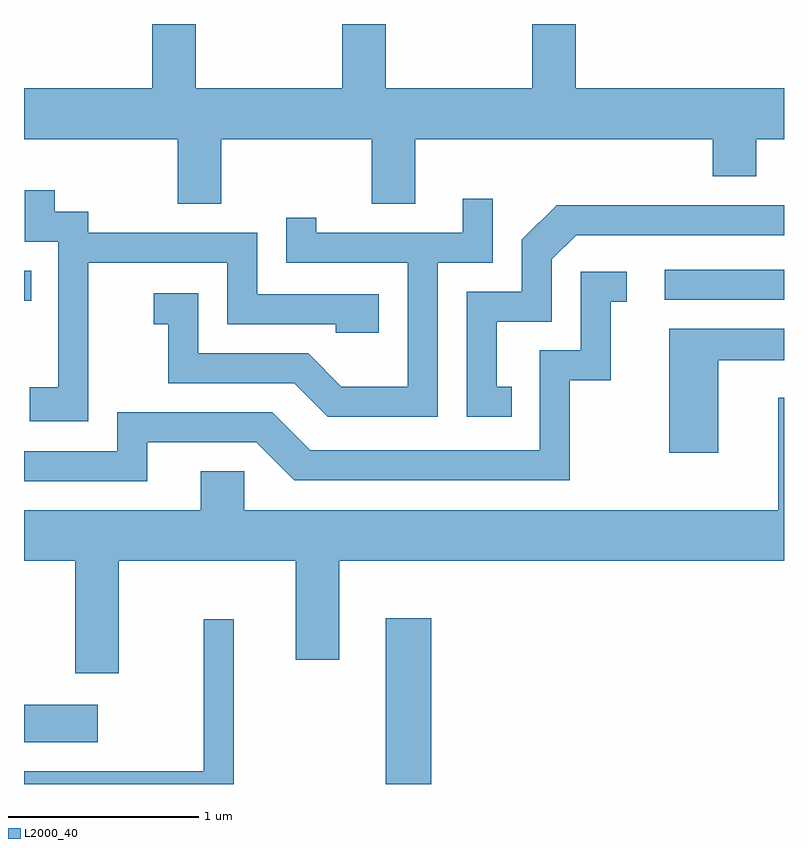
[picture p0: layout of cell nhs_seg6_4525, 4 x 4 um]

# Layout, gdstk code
import gdstk
lib = gdstk.Library(unit=1e-6, precision=1e-09)
def R(c, l, rs):  # rectangles x0, y0, x1, y1
    for r in rs: c.add(gdstk.rectangle(r[:2], r[2:], *l))
def P(c, l, *ps):  # polygons
    for p in ps: c.add(gdstk.Polygon(p, *l))
L2000_40 = (2000, 40)

nhs_seg6_4525 = lib.new_cell('nhs_seg6_4525')
R(nhs_seg6_4525, L2000_40, [(325.516,1582.162,325.754,1583.034), (323.611,1582.381,323.999,1582.579), (323.611,1584.706,323.648,1584.864), (326.983,1584.711,327.611,1584.869)])
P(nhs_seg6_4525, L2000_40, [(324.649,1585.556),(325.441,1585.556),(325.441,1585.216),(325.669,1585.216),(325.669,1585.556),(327.236,1585.556),(327.236,1585.361),(327.464,1585.361),(327.464,1585.556),(327.611,1585.556),(327.611,1585.824),(326.514,1585.824),(326.514,1586.162),(326.286,1586.162),(326.286,1585.824),(325.514,1585.824),(325.514,1586.162),(325.286,1586.162),(325.286,1585.824),(324.514,1585.824),(324.514,1586.162),(324.286,1586.162),(324.286,1585.824),(323.611,1585.824),(323.611,1585.556),(324.421,1585.556),(324.421,1585.216),(324.649,1585.216)],
  [(323.949,1584.906),(324.681,1584.906),(324.681,1584.581),(325.251,1584.581),(325.251,1584.536),(325.479,1584.536),(325.479,1584.739),(324.839,1584.739),(324.839,1585.064),(323.949,1585.064),(323.949,1585.174),(323.774,1585.174),(323.774,1585.288),(323.616,1585.288),(323.616,1585.016),(323.791,1585.016),(323.791,1584.249),(323.641,1584.249),(323.641,1584.071),(323.949,1584.071)],
  [(325.789,1584.906),(326.079,1584.906),(326.079,1585.243),(325.921,1585.243),(325.921,1585.064),(325.149,1585.064),(325.149,1585.143),(324.991,1585.143),(324.991,1584.906),(325.631,1584.906),(325.631,1584.254),(325.282,1584.254),(325.107,1584.429),(324.529,1584.429),(324.529,1584.744),(324.293,1584.744),(324.293,1584.581),(324.371,1584.581),(324.371,1584.271),(325.034,1584.271),(325.209,1584.096),(325.789,1584.096)],
  [(326.178,1584.254),(326.099,1584.254),(326.099,1584.596),(326.389,1584.596),(326.389,1584.924),(326.517,1585.051),(327.611,1585.051),(327.611,1585.209),(326.414,1585.209),(326.231,1585.027),(326.231,1584.754),(325.941,1584.754),(325.941,1584.096),(326.178,1584.096)],
  [(324.259,1583.961),(324.834,1583.961),(325.034,1583.761),(326.484,1583.761),(326.484,1584.286),(326.699,1584.286),(326.699,1584.701),(326.783,1584.701),(326.783,1584.859),(326.541,1584.859),(326.541,1584.444),(326.326,1584.444),(326.326,1583.919),(325.117,1583.919),(324.917,1584.119),(324.101,1584.119),(324.101,1583.914),(323.611,1583.914),(323.611,1583.756),(324.259,1583.756)],
  [(327.264,1584.391),(327.611,1584.391),(327.611,1584.559),(327.006,1584.559),(327.006,1583.906),(327.264,1583.906)],
  [(324.109,1583.336),(325.041,1583.336),(325.041,1582.816),(325.269,1582.816),(325.269,1583.336),(327.611,1583.336),(327.611,1584.194),(327.581,1584.194),(327.581,1583.604),(324.769,1583.604),(324.769,1583.809),(324.541,1583.809),(324.541,1583.604),(323.611,1583.604),(323.611,1583.336),(323.881,1583.336),(323.881,1582.746),(324.109,1582.746)],
  [(324.714,1583.028),(324.556,1583.028),(324.556,1582.229),(323.611,1582.229),(323.611,1582.162),(324.714,1582.162)])

lib.write_gds('nhs_seg6_4525.gds')
